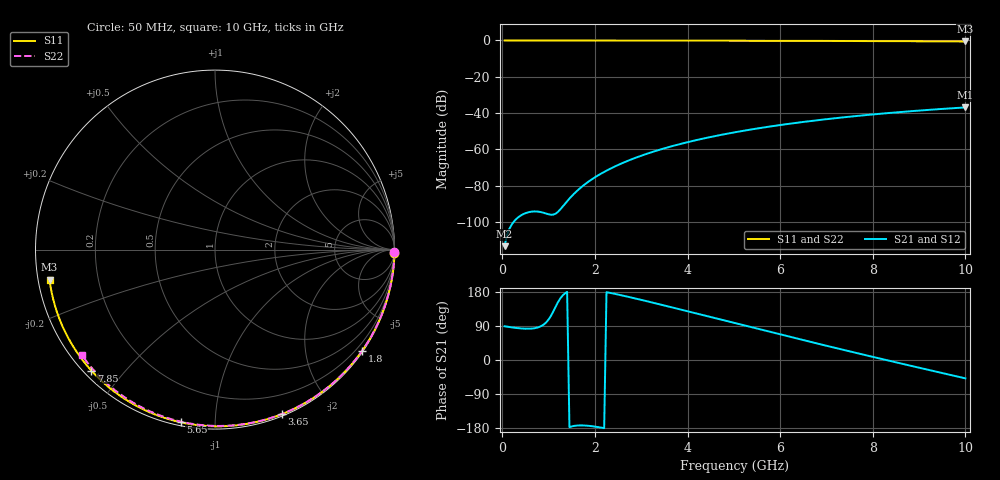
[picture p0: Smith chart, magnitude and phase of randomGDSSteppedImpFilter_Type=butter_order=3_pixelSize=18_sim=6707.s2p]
! freq	dB(S11)	phase(S11)	dB(S12)	phase(S12)
!  dB(S21)	phase(S21)	dB(S22)	phase(S22)
!S-par simulation data
#  GHz  S  DB  R 50
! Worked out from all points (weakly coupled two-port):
!   200 points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, 50 MHz to 10 GHz, reference 50 ohm
!   highest |S21| = -36.91 dB at 10 GHz (marker M1); lowest = -113.4 dB at 50 MHz (marker M2)
!   lowest |S11| = -0.6 dB at 10 GHz (marker M3), VSWR 30.75, Z = 1.64 - j4.49 ohm
!   |S11| at or under -10 dB: nowhere
!   |S22| runs from -0.5 to 0.0 dB; largest |S21 - S12| = 0
!   S11 on the Smith chart (normalised r, x): 50 MHz: open; 1.8 GHz: 0.03, -3.22; 3.65 GHz: 0.02, -1.48; 5.65 GHz: 0.02, -0.82; 7.85 GHz: 0.02, -0.41; 10 GHz: 0.03, -0.09
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0.05  -0.00 -1.0  -113.38 89.0  -113.38 89.0  -0.00 -0.8
0.45  -0.01 -8.8  -95.76 82.9  -95.76 82.9  -0.01 -7.4
0.85  -0.02 -16.5  -94.69 90.1  -94.69 90.1  -0.02 -13.8
1.3  -0.03 -25.1  -91.68 169.8  -91.68 169.8  -0.03 -21.1
1.75  -0.04 -33.5  -79.95 -172.7  -79.95 -172.7  -0.04 -28.2
1.8  -0.04 -34.5  -78.97 -173.0  -78.97 -173.0  -0.04 -29.0
2.1  -0.05 -40.1  -73.89 -177.7  -73.89 -177.7  -0.04 -33.7
2.3  -0.06 -43.8  -71.10 177.8  -71.10 177.8  -0.05 -36.8
2.5  -0.06 -47.4  -68.64 172.7  -68.64 172.7  -0.05 -39.9
2.9  -0.07 -54.7  -64.46 161.6  -64.46 161.6  -0.06 -46.1
3.4  -0.08 -63.5  -60.20 146.8  -60.20 146.8  -0.07 -53.6
3.65  -0.09 -67.9  -58.37 139.3  -58.37 139.3  -0.08 -57.3
4.35  -0.11 -79.9  -54.01 117.9  -54.01 117.9  -0.10 -67.6
5.05  -0.14 -91.5  -50.48 96.4  -50.48 96.4  -0.12 -77.5
5.65  -0.17 -101.3  -47.94 78.1  -47.94 78.1  -0.14 -85.8
6.15  -0.20 -109.2  -46.09 63.0  -46.09 63.0  -0.16 -92.5
6.7  -0.23 -117.8  -44.28 46.5  -44.28 46.5  -0.19 -99.8
7.25  -0.27 -126.4  -42.68 30.2  -42.68 30.2  -0.23 -107.0
7.85  -0.32 -135.6  -41.13 12.6  -41.13 12.6  -0.27 -114.6
8.35  -0.37 -143.4  -39.98 -1.8  -39.98 -1.8  -0.31 -121.0
9.2  -0.46 -156.7  -38.26 -26.0  -38.26 -26.0  -0.39 -131.6
10  -0.57 -169.7  -36.91 -48.4  -36.91 -48.4  -0.48 -141.5
